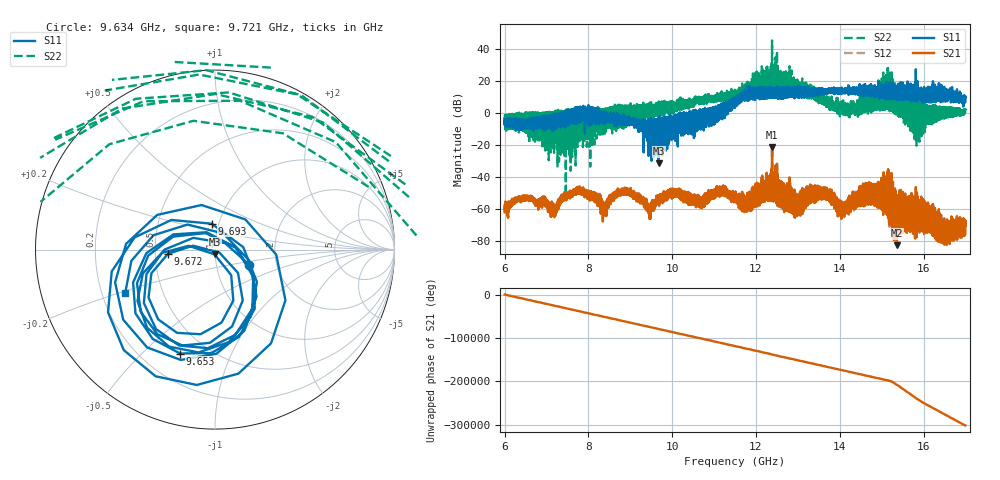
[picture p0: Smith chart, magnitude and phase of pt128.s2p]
#  HZ  S  RI  R  50.00
! Rohde & Schwarz Vector Network Analyzer
! Rohde-Schwarz,ZNA67-2Port,1332450062101215,3.01
! Created: UTC 10/19/2026, 5:27:23 PM
! freq[Hz]  re:S11  im:S11  re:S21  im:S21  re:S12  im:S12  re:S22  im:S22
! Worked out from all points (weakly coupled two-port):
!   11001 points, 6 GHz to 17 GHz, reference 50 ohm
!   highest |S21| = -21.44 dB at 12.38 GHz (marker M1); lowest = -82.6 dB at 15.37 GHz (marker M2)
!   lowest |S11| = -31.5 dB at 9.681 GHz (marker M3), VSWR 1.05, Z = 49.7 - j2.64 ohm
!   |S11| at or under -10 dB: 9.386562 GHz to 9.391361 GHz (4.799 MHz wide, 0.0511 % of centre); 9.398517 GHz to 9.403085 GHz (4.569 MHz wide, 0.0486 % of centre); 9.586569 GHz to 9.591011 GHz (4.442 MHz wide, 0.0463 % of centre) (the widest 3 of 123)
!   |S22| runs from -51.9 to 45.0 dB; largest |S21 - S12| = 0.0024
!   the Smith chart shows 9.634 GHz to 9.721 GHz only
!   S11 on the Smith chart (normalised r, x): 9.634 GHz: 1.45, -0.26; 9.653 GHz: 0.36, -0.66; 9.672 GHz: 0.58, -0.03; 9.693 GHz: 0.92, +0.27; 9.721 GHz: 0.30, -0.21
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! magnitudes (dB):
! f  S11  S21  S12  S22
! 6 GHz  -5.3  -62.1  -61.9  -3.0
! 6.498 GHz  -4.9  -54.9  -54.7  -1.1
! 7.183 GHz  -2.7  -57.4  -57.1  -5.6
! 7.834 GHz  -4.1  -49.8  -49.6  -12.7
! 8.375 GHz  -0.5  -56.5  -56.4  3.0
! 8.837 GHz  -7.3  -50.1  -49.9  -10.0
! 9.634 GHz  -13.6  -55.8  -56.0  3.2
! 9.653 GHz  -4.3  -55.8  -56.1  -0.2
! 9.667 GHz  -7.2  -53.6  -53.8  -1.6
! 9.672 GHz  -11.6  -52.4  -52.7  4.7
! 9.681 GHz  -31.5  -54.4  -54.8  4.7
! 9.693 GHz  -16.7  -52.7  -53.1  3.9
! 9.721 GHz  -5.1  -53.2  -53.5  3.5
! 11.5 GHz  4.1  -53.5  -53.5  9.7
! 12.38 GHz  10.1  -21.4  -21.6  45.0
! 12.97 GHz  14.9  -53.5  -54.1  17.4
! 13.33 GHz  11.7  -52.8  -52.7  10.3
! 14.19 GHz  14.9  -56.7  -56.9  1.2
! 15.17 GHz  10.8  -63.9  -64.0  3.6
! 15.37 GHz  10.7  -82.6  -83.0  -0.2
! 16.53 GHz  11.8  -68.8  -70.4  2.7
! 17 GHz  9.6  -70.5  -69.8  1.6
